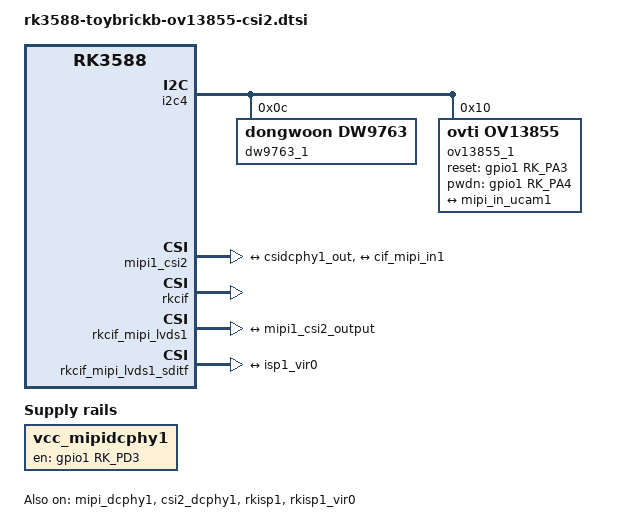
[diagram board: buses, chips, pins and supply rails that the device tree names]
/ {
	vcc_mipidcphy1: vcc-mipidcphy1-regulator {
		compatible = "regulator-fixed";
		gpio = <&gpio1 RK_PD3 GPIO_ACTIVE_HIGH>;
		pinctrl-names = "default";
		pinctrl-0 = <&mipidcphy1_pwr>;
		regulator-name = "vcc_mipidcphy1";
		enable-active-high;
		regulator-always-on;
		regulator-boot-on;
	};

};

&i2c4 {
	status = "okay";
	pinctrl-0 = <&i2c4m1_xfer>;

	dw9763_1: dw9763-1@c {
                status = "okay";
                compatible = "dongwoon,dw9763";
                reg = <0x0c>;
                rockchip,camera-module-index = <1>;
                rockchip,camera-module-facing = "back";
        };

	ov13855_1: ov13855-1@10 {
               compatible = "ovti,ov13855";
               status = "okay";
               reg = <0x10>;
               clocks = <&cru CLK_MIPI_CAMARAOUT_M2>;
               clock-names = "xvclk";
               power-domains = <&power RK3588_PD_VI>;
               pinctrl-names = "default";
               pinctrl-0 = <&mipim0_camera2_clk>;
               rockchip,grf = <&sys_grf>;
               reset-gpios = <&gpio1 RK_PA3 GPIO_ACTIVE_HIGH>;
               pwdn-gpios = <&gpio1 RK_PA4 GPIO_ACTIVE_HIGH>;
               rockchip,camera-module-index = <1>;
               rockchip,camera-module-facing = "front";
               rockchip,camera-module-name = "CMK-OT2016-FV1";
               rockchip,camera-module-lens-name = "default";
	       lens-focus = <&dw9763_1>;
               port {
                       ov13855_out1: endpoint {
                               remote-endpoint = <&mipi_in_ucam1>;
                               data-lanes = <1 2 3 4>;
                       };
               };
       };

};

&mipi_dcphy1 {
	status = "okay";
};

&csi2_dcphy1 {
	status = "okay";

	ports {
		#address-cells = <1>;
		#size-cells = <0>;
		port@0 {
			reg = <0>;
			#address-cells = <1>;
			#size-cells = <0>;

			mipi_in_ucam1: endpoint@1 {
				reg = <1>;
				remote-endpoint = <&ov13855_out1>;
				data-lanes = <1 2 3 4>;
			};
		};
		port@1 {
			reg = <1>;
			#address-cells = <1>;
			#size-cells = <0>;

			csidcphy1_out: endpoint@0 {
				reg = <0>;
				remote-endpoint = <&mipi1_csi2_input>;
			};
		};
	};
};

&mipi1_csi2 {
	status = "okay";

	ports {
		#address-cells = <1>;
		#size-cells = <0>;

		port@0 {
			reg = <0>;
			#address-cells = <1>;
			#size-cells = <0>;

			mipi1_csi2_input: endpoint@1 {
				reg = <1>;
				remote-endpoint = <&csidcphy1_out>;
			};
		};

		port@1 {
			reg = <1>;
			#address-cells = <1>;
			#size-cells = <0>;

			mipi1_csi2_output: endpoint@0 {
				reg = <0>;
				remote-endpoint = <&cif_mipi_in1>;
			};
		};
	};
};

&rkcif {
	status = "okay";
};

&rkcif_mmu {
	status = "okay";
};

&rkcif_mipi_lvds1 {
	status = "okay";

	port {
		cif_mipi_in1: endpoint {
			remote-endpoint = <&mipi1_csi2_output>;
		};
	};
};

&rkcif_mipi_lvds1_sditf {
	status = "okay";

	port {
		mipi1_lvds_sditf: endpoint {
			remote-endpoint = <&isp1_vir0>;
		};
	};
};

&rkisp1 {
	status = "okay";
};

&isp1_mmu {
	status = "okay";
};

&rkisp1_vir0 {
	status = "okay";

	port {
		#address-cells = <1>;
		#size-cells = <0>;

		isp1_vir0: endpoint@0 {
			reg = <0>;
			remote-endpoint = <&mipi1_lvds_sditf>;
		};
	};
};

&pinctrl {
	mipidcphy1_pwr: mipidcphy1-pwr {
		rockchip,pins =
			/* camera power en */
			<1 RK_PD3 RK_FUNC_GPIO &pcfg_output_high>;
	};

};
